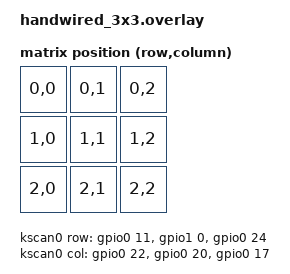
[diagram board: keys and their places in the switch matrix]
#include <dt-bindings/zmk/matrix_transform.h>

/*
 * 3x3 Handwired Matrix — Nice Nano v2
 *
 * Rows (col2row, diodes in row legs, cathode toward row wire):
 *   Row 0 → P0.11  (D7)
 *   Row 1 → P1.00  (D6)
 *   Row 2 → P0.24  (D5)
 *
 * Cols (switches interconnected per column):
 *   Col 0 → P0.22  (D4)  ["022"]
 *   Col 1 → P0.20  (D3)  ["200" interpreted as P0.20]
 *   Col 2 → P0.17  (D2)  ["017"]
 */

/ {
    chosen {
        zmk,kscan = &kscan0;
        zmk,matrix_transform = &default_transform;
    };

    default_transform: keymap_transform_0 {
        compatible = "zmk,matrix-transform";
        columns = <3>;
        rows = <3>;
        map = <
            RC(0,0) RC(0,1) RC(0,2)
            RC(1,0) RC(1,1) RC(1,2)
            RC(2,0) RC(2,1) RC(2,2)
        >;
    };

    kscan0: kscan {
        compatible = "zmk,kscan-gpio-matrix";
        diode-direction = "col2row";

        col-gpios
            = <&gpio0 22 GPIO_ACTIVE_HIGH>
            , <&gpio0 20 GPIO_ACTIVE_HIGH>
            , <&gpio0 17 GPIO_ACTIVE_HIGH>
            ;

        row-gpios
            = <&gpio0 11 (GPIO_ACTIVE_HIGH | GPIO_PULL_DOWN)>
            , <&gpio1 0  (GPIO_ACTIVE_HIGH | GPIO_PULL_DOWN)>
            , <&gpio0 24 (GPIO_ACTIVE_HIGH | GPIO_PULL_DOWN)>
            ;
    };
};
